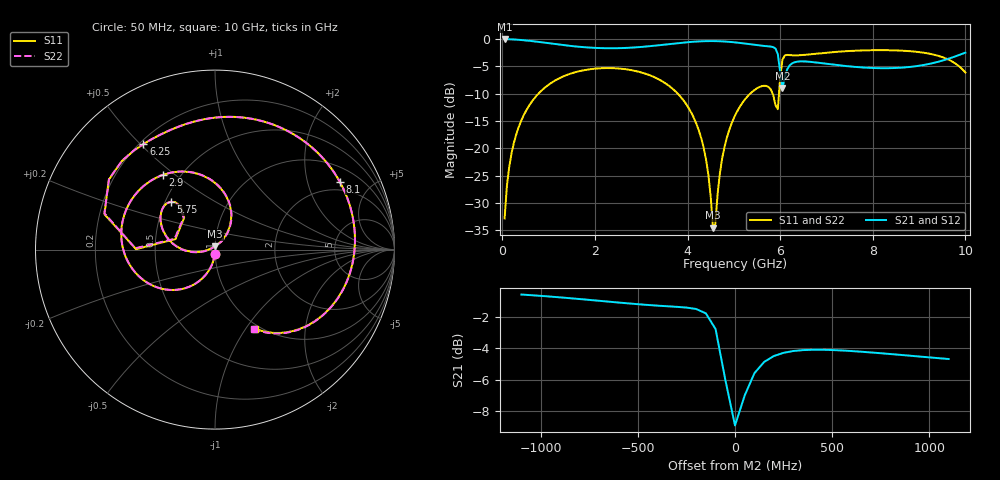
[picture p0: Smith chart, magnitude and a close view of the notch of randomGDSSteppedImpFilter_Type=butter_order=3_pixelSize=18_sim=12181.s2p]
! freq	dB(S11)	phase(S11)	dB(S12)	phase(S12)
!  dB(S21)	phase(S21)	dB(S22)	phase(S22)
!S-par simulation data
#  GHz  S  DB  R 50
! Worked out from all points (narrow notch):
!   200 points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, 50 MHz to 10 GHz, reference 50 ohm
!   highest |S21| = -0.01 dB at 50 MHz (marker M1); lowest = -8.9 dB at 6.05 GHz (marker M2)
!   notch at M2: 7.4 dB deep, 184 MHz wide at half that depth
!   lowest |S11| = -34.5 dB at 4.55 GHz (marker M3), VSWR 1.04, Z = 50 + j1.88 ohm
!   |S11| at or under -10 dB: start of sweep to 780.6 MHz; 3.789 GHz to 5.352 GHz (1.563 GHz wide, 34.2 % of centre); 5.839 GHz to 5.975 GHz (136.3 MHz wide, 2.31 % of centre)
!   |S22| runs from -35.2 to -2.0 dB; largest |S21 - S12| = 0
!   S11 on the Smith chart (normalised r, x): 50 MHz: 1.00, -0.05; 2.9 GHz: 0.40, +0.45; 5.75 GHz: 0.53, +0.33; 6.25 GHz: 0.22, +0.51; 8.1 GHz: 1.58, +3.20; 10 GHz: 0.95, -1.10
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0.05  -32.84 -93.0  -0.01 -3.0  -0.01 -3.0  -32.84 -93.0
0.2  -20.89 -102.2  -0.06 -11.7  -0.06 -11.7  -20.89 -102.2
0.5  -13.34 -119.4  -0.25 -28.9  -0.25 -28.9  -13.34 -119.4
1.1  -7.79 -151.4  -0.87 -60.9  -0.87 -60.9  -7.79 -151.4
1.75  -5.73 177.4  -1.48 -92.2  -1.48 -92.2  -5.73 177.3
2.9  -5.89 125.0  -1.51 -145.0  -1.51 -145.0  -5.89 124.8
3.4  -7.47 100.6  -1.11 -169.9  -1.11 -169.9  -7.47 100.4
4.25  -16.88 56.6  -0.43 141.6  -0.43 141.6  -16.89 55.8
4.45  -24.85 53.6  -0.37 129.1  -0.37 129.1  -24.91 51.7
4.55  -34.53 90.3  -0.37 122.7  -0.37 122.7  -35.24 87.0
4.6  -33.85 155.6  -0.38 119.5  -0.38 119.5  -34.49 158.6
4.75  -21.76 -171.7  -0.42 109.8  -0.42 109.8  -21.80 -170.5
5.05  -13.59 175.8  -0.63 90.4  -0.63 90.4  -13.60 176.2
5.75  -8.78 132.9  -1.33 41.6  -1.33 41.6  -8.77 133.2
5.95  -12.84 165.1  -2.76 9.8  -2.76 9.8  -12.66 165.1
6.05  -3.79 162.3  -8.94 24.2  -8.94 24.2  -3.76 161.8
6.25  -2.97 124.1  -4.49 31.8  -4.49 31.8  -2.97 123.9
6.7  -2.75 94.6  -4.21 5.0  -4.21 5.0  -2.74 94.4
8.1  -2.03 28.6  -5.32 -61.7  -5.32 -61.7  -2.03 28.3
8.35  -2.05 17.6  -5.33 -73.1  -5.33 -73.1  -2.05 17.3
9.15  -2.57 -18.5  -4.67 -110.7  -4.67 -110.7  -2.57 -18.9
10  -6.14 -63.2  -2.49 -161.8  -2.49 -161.8  -6.15 -63.9
